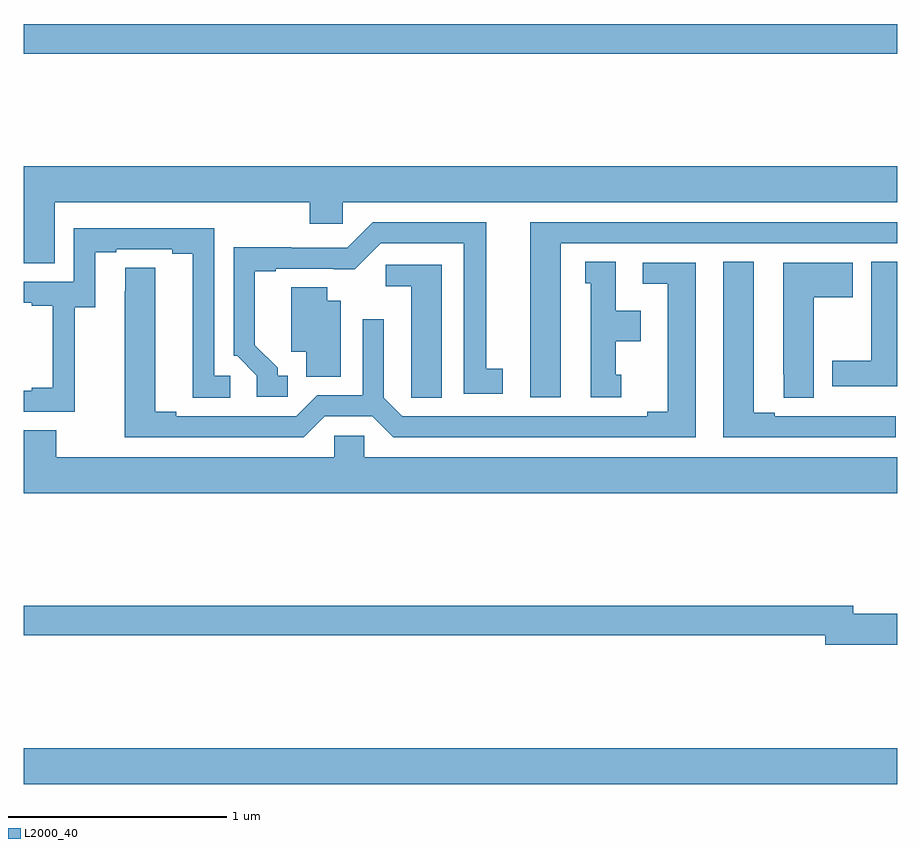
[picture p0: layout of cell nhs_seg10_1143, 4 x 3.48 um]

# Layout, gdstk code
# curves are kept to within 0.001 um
import gdstk
lib = gdstk.Library(unit=1e-6, precision=1e-09)
def R(c, l, rs):  # rectangles x0, y0, x1, y1
    for r in rs: c.add(gdstk.rectangle(r[:2], r[2:], *l))
def P(c, l, *ps):  # polygons
    for p in ps: c.add(gdstk.Polygon(p, *l))
L2000_40 = (2000, 40)

nhs_seg10_1143 = lib.new_cell('nhs_seg10_1143')
R(nhs_seg10_1143, L2000_40, [(169,1310.972,173,1311.136), (169,1314.316,173,1314.452)])
P(nhs_seg10_1143, L2000_40, [(169,1313.356),(169.141,1313.356),(169.141,1313.636),(170.309,1313.636),(170.309,1313.538),(170.46,1313.538),(170.46,1313.636),(173,1313.636),(173,1313.8),(169,1313.8)],
  [(171.46,1313.448),(173,1313.448),(173,1313.544),(171.32,1313.544),(171.32,1312.743),(171.46,1312.743)],
  [(170.209,1312.842),(170.164,1312.842),(170.164,1312.877),(170.059,1312.982),(170.059,1313.319),(170.155,1313.319),(170.155,1313.331),(170.516,1313.33),(170.634,1313.448),(171.014,1313.448),(171.014,1312.758),(171.193,1312.758),(171.193,1312.874),(171.118,1312.874),(171.118,1313.544),(170.598,1313.544),(170.481,1313.427),(170.225,1313.427),(170.225,1313.429),(169.962,1313.429),(169.962,1312.932),(169.977,1312.932),(170.067,1312.842),(170.067,1312.746),(170.209,1312.746)],
  [(169.233,1313.155),(169.327,1313.155),(169.327,1313.406),(169.423,1313.406),(169.423,1313.421),(169.679,1313.421),(169.679,1313.401),(169.775,1313.401),(169.775,1312.741),(169.945,1312.741),(169.945,1312.842),(169.872,1312.842),(169.872,1313.517),(169.23,1313.517),(169.23,1313.271),(169,1313.271),(169,1313.175),(169.037,1313.175),(169.037,1313.163),(169.133,1313.163),(169.133,1312.786),(169.037,1312.786),(169.037,1312.773),(169,1312.773),(169,1312.677),(169.233,1312.677)],
  [(171.736,1312.845),(171.712,1312.845),(171.712,1313),(171.826,1313),(171.826,1313.14),(171.712,1313.14),(171.712,1313.363),(171.572,1313.363),(171.572,1313.265),(171.596,1313.265),(171.596,1312.743),(171.736,1312.743)],
  [(172.993,1312.656),(172.88,1312.656),(172.88,1312.657),(172.714,1312.657),(172.714,1312.656),(172.438,1312.656),(172.438,1312.671),(172.342,1312.671),(172.342,1313.363),(172.202,1313.363),(172.202,1312.56),(172.993,1312.56)],
  [(173,1313.363),(172.88,1313.363),(172.88,1312.911),(172.703,1312.911),(172.703,1312.794),(173,1312.794)],
  [(172.618,1313.2),(172.795,1313.2),(172.795,1313.359),(172.478,1313.359),(172.478,1312.849),(172.479,1312.849),(172.479,1312.741),(172.618,1312.741)],
  [(170.379,1312.656),(170.597,1312.656),(170.693,1312.56),(172.078,1312.56),(172.078,1313.358),(171.834,1313.358),(171.834,1313.262),(171.95,1313.262),(171.95,1312.676),(171.854,1312.676),(171.854,1312.656),(170.733,1312.656),(170.649,1312.74),(170.649,1313.101),(170.553,1313.101),(170.553,1312.752),(170.343,1312.752),(170.247,1312.656),(169.699,1312.656),(169.699,1312.676),(169.603,1312.676),(169.603,1313.336),(169.464,1313.336),(169.463,1312.56),(170.283,1312.56)],
  [(170.914,1313.349),(170.658,1313.349),(170.658,1313.252),(170.774,1313.252),(170.774,1312.849),(170.775,1312.849),(170.775,1312.741),(170.914,1312.741)],
  [(170.452,1313.185),(170.389,1313.185),(170.389,1313.246),(170.225,1313.246),(170.225,1312.952),(170.294,1312.952),(170.294,1312.837),(170.452,1312.837)],
  [(173,1312.468),(170.559,1312.468),(170.559,1312.566),(170.421,1312.566),(170.421,1312.468),(169.149,1312.468),(169.149,1312.592),(169,1312.592),(169,1312.304),(173,1312.304)],
  [(173,1311.752),(172.798,1311.752),(172.798,1311.788),(169,1311.788),(169,1311.652),(172.67,1311.652),(172.67,1311.61),(173,1311.61)])

lib.write_gds('nhs_seg10_1143.gds')
